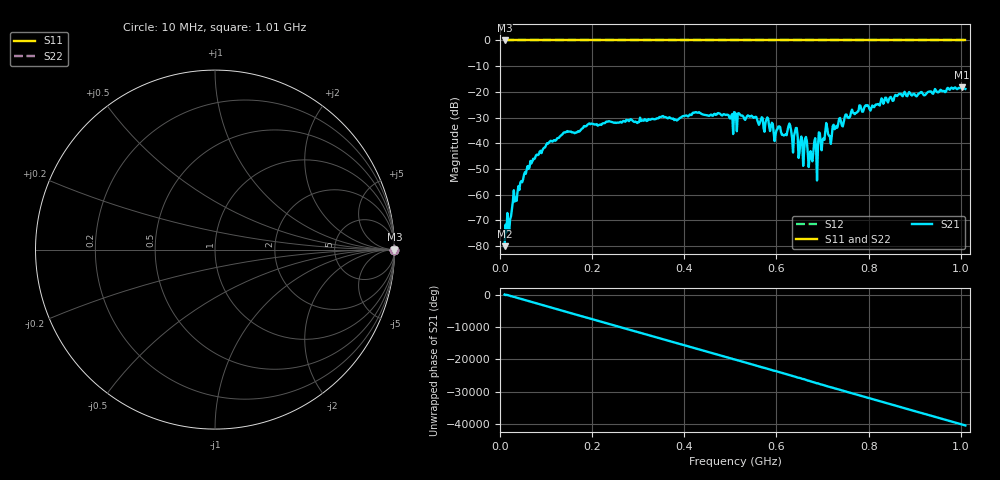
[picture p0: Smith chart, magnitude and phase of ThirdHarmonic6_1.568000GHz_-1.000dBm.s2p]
! 8/16/2025 6:38:40 PM
! C:\ANRITSUVNA\TEMP\TEMP.S2P
! CHANNEL.1
! TR.MEASUREMENT
! RAW.DATA
! RF.CORRECTION.OFF
! AVERAGING.OFF
! IF.BANDWIDTH: 5KHZ
! SWEEPTYPE:  FREQ.SWEEP(Linear)
! Reference Plane Port Info
! PORT:  PORT1  PORT2
! DISTANCE:  0  m  0  m
! TIME:  0  s  0  s
! PHASE.OFFSET:  0  deg.  0  deg.
! LOSS:  0  dB  0  dB
! REF.LOSS:  0  dB  0  dB
! REF.FREQ:  0  Hz  0  Hz
! Power Info
! POWER:  -20  dBm  -20  dBm
! EFF.POWER:  -20  dBm  -20  dBm
! SOURCE.ATTEN:  0  dB  0  dB
! TEST.ATTEN:  0  dB  0  dB
# GHZ S RI R 50.0
! FREQ.GHZ  S11RE  S11IM  S21RE  S21IM  S12RE  S12IM  S22RE  S22IM
!; PortSelection: Port_12
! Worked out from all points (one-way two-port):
!   501 points, 10 MHz to 1.01 GHz, reference 50 ohm
!   highest |S21| = -18.26 dB at 1.002 GHz (marker M1); lowest = -80.0 dB at 10 MHz (marker M2)
!   lowest |S11| = 0.0 dB at 10 MHz (marker M3)
!   |S11| at or under -10 dB: nowhere
!   |S22| runs from 0.0 to 0.0 dB; largest |S21 - S12| = 1.1
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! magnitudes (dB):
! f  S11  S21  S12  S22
! 10 MHz  0.0  -80.0  0.0  0.0
! 30 MHz  0.0  -58.3  0.0  0.0
! 70 MHz  0.0  -47.1  0.0  0.0
! 106 MHz  0.0  -39.8  0.0  0.0
! 178 MHz  0.0  -34.3  0.0  0.0
! 344 MHz  0.0  -30.2  0.0  0.0
! 428 MHz  0.0  -28.1  0.0  0.0
! 510 MHz  0.0  -28.0  0.0  0.0
! 520 MHz  0.0  -28.6  0.0  0.0
! 580 MHz  0.0  -29.9  0.0  0.0
! 616 MHz  0.0  -37.0  0.0  0.0
! 628 MHz  0.0  -32.3  0.0  0.0
! 654 MHz  0.0  -37.4  0.0  0.0
! 664 MHz  0.0  -37.5  0.0  0.0
! 674 MHz  0.0  -43.0  0.0  0.0
! 678 MHz  0.0  -47.0  0.0  0.0
! 706 MHz  0.0  -35.4  0.0  0.0
! 716 MHz  0.0  -37.3  0.0  0.0
! 752 MHz  0.0  -28.8  0.0  0.0
! 844 MHz  0.0  -23.0  0.0  0.0
! 1.002 GHz  0.0  -18.3  0.0  0.0
! 1.01 GHz  0.0  -18.9  0.0  0.0
